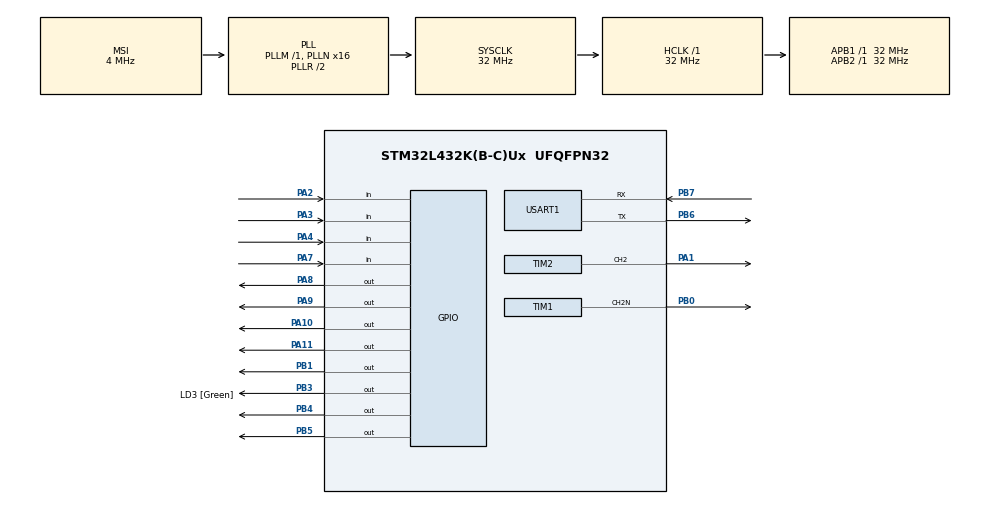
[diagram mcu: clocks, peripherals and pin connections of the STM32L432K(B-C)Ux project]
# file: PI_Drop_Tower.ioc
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Mcu.Family=STM32L4
Mcu.Name=STM32L432K(B-C)Ux
Mcu.Package=UFQFPN32
NVIC.PriorityGroup=NVIC_PRIORITYGROUP_4
NVIC.TIM6_DAC_IRQn=true\:0\:0\:false\:false\:true\:true\:true\:true
NVIC.USART1_IRQn=true\:0\:0\:false\:false\:true\:true\:true\:true
PA0.GPIO_Label=MCO [High speed clock in]
PA0.Mode=HSE-External-Clock-Source-for-LittleOrca
PA0.Signal=RCC_CK_IN
PA1.Signal=S_TIM2_CH2
PA10.Signal=GPIO_Output
PA11.Signal=GPIO_Output
PA13\ (JTMS-SWDIO).GPIO_Label=SWDIO
PA13\ (JTMS-SWDIO).Mode=Serial_Wire
PA13\ (JTMS-SWDIO).Signal=SYS_JTMS-SWDIO
PA14\ (JTCK-SWCLK).GPIO_Label=SWCLK
PA14\ (JTCK-SWCLK).Mode=Serial_Wire
PA14\ (JTCK-SWCLK).Signal=SYS_JTCK-SWCLK
PA15\ (JTDI).GPIO_Label=VCP_RX
PA15\ (JTDI).Signal=USART2_RX
PA2.Signal=GPIO_Input
PA3.GPIO_PuPd=GPIO_PULLDOWN
PA3.Signal=GPIO_Input
PA4.Signal=GPIO_Input
PA7.Signal=GPIO_Input
PA8.Signal=GPIO_Output
PA9.Signal=GPIO_Output
PB0.Mode=PWM Generation2 CH2N
PB0.Signal=TIM1_CH2N
PB1.GPIO_PuPd=GPIO_PULLDOWN
PB1.Signal=GPIO_Output
PB3\ (JTDO-TRACESWO).GPIO_Label=LD3 [Green]
PB3\ (JTDO-TRACESWO).Signal=GPIO_Output
PB4\ (NJTRST).GPIO_PuPd=GPIO_PULLUP
PB4\ (NJTRST).Signal=GPIO_Output
PB5.Signal=GPIO_Output
PB6.Mode=Asynchronous
PB6.Signal=USART1_TX
PB7.Mode=Asynchronous
PB7.Signal=USART1_RX
PC14-OSC32_IN\ (PC14).Mode=LSE-External-Oscillator
PC14-OSC32_IN\ (PC14).Signal=RCC_OSC32_IN
PC15-OSC32_OUT\ (PC15).Mode=LSE-External-Oscillator
PC15-OSC32_OUT\ (PC15).Signal=RCC_OSC32_OUT
ProjectManager.HeapSize=0x200
ProjectManager.StackSize=0x400
ProjectManager.TargetToolchain=STM32CubeIDE
RCC.AHBFreq_Value=32000000
RCC.APB1Freq_Value=32000000
RCC.APB1TimFreq_Value=32000000
RCC.APB2Freq_Value=32000000
RCC.APB2TimFreq_Value=32000000
RCC.CortexFreq_Value=32000000
RCC.HCLKFreq_Value=32000000
RCC.HSE_VALUE=8000000
RCC.HSI16_VALUE=16000000
RCC.HSI48_VALUE=48000000
RCC.HSI_VALUE=16000000
RCC.MSI_VALUE=4000000
RCC.PLLMUL=RCC_PLLMUL_4
RCC.PLLN=16
RCC.SYSCLKFreq_VALUE=32000000
RCC.SYSCLKSource=RCC_SYSCLKSOURCE_PLLCLK
RCC.VCOOutputFreq_Value=64000000
SH.S_TIM2_CH2.0=TIM2_CH2,PWM Generation2 CH2
TIM1.Channel-PWM\ Generation2\ CH2N=TIM_CHANNEL_2
TIM1.OCNPolarity_2=TIM_OCNPOLARITY_HIGH
TIM1.Period=100-1
TIM1.Prescaler=16-1
TIM2.Channel-PWM\ Generation2\ CH2=TIM_CHANNEL_2
TIM2.OCPolarity_2=TIM_OCPOLARITY_HIGH
TIM2.Period=100-1
TIM2.Prescaler=16-1
TIM6.AutoReloadPreload=TIM_AUTORELOAD_PRELOAD_DISABLE
TIM6.Period=1000
TIM6.Prescaler=32-1
USART1.Parity=PARITY_EVEN
USART1.VirtualMode-Asynchronous=VM_ASYNC
USART1.WordLength=WORDLENGTH_9B
VP_TIM1_VS_ClockSourceINT.Mode=Internal
VP_TIM2_VS_ClockSourceINT.Mode=Internal
VP_TIM6_VS_ClockSourceINT.Mode=Enable_Timer
board=NUCLEO-L432KC

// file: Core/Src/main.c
/* USER CODE BEGIN Header */
/**
  ******************************************************************************
  * @file           : main.c
  * @brief          : Main program body
  ******************************************************************************
  * @attention
  *
  * Copyright (c) 2023 STMicroelectronics.
  * All rights reserved.
  *
  * This software is licensed under terms that can be found in the LICENSE file
  * in the root directory of this software component.
  * If no LICENSE file comes with this software, it is provided AS-IS.
  *
  ******************************************************************************
  */
/* USER CODE END Header */
#include "main.h"

/* USER CODE BEGIN Includes */

#include "fsm.h"
#include "read_signals.h"
#include "addons.h"

/* USER CODE END Includes */

/* USER CODE BEGIN PD */

//#define MAIN_TICK_STOP

/* USER CODE END PD */

TIM_HandleTypeDef htim1;
TIM_HandleTypeDef htim2;
TIM_HandleTypeDef htim6;

UART_HandleTypeDef huart1;

/* USER CODE BEGIN PV */

uint8_t UART1_rxBuffer[SIZE_DATA] = {0};
uint8_t clamp_open_string[SIZE_DATA] = {"CLAOP\0"};
uint8_t clamp_close_string[SIZE_DATA] = {"CLACL\0"};
uint8_t EM_string[SIZE_DATA] = {"EMXXX\0"};

eSystemState state = Clamp_Opening_State;

bool req_clamp_open,req_clamp_close = false;
bool req_EM_open = false;
uint8_t flag_action = ACTION_NOK;
signal_struct signal;

/* USER CODE END PV */

void SystemClock_Config(void);
static void MX_GPIO_Init(void);
static void MX_TIM6_Init(void);
static void MX_USART1_UART_Init(void);
static void MX_TIM1_Init(void);
static void MX_TIM2_Init(void);
/* USER CODE BEGIN PFP */

void main_tick();
void status_led();

/* USER CODE END PFP */

int main(void)
{

  /* MCU Configuration--------------------------------------------------------*/

  /* Reset of all peripherals, Initializes the Flash interface and the Systick. */
  HAL_Init();

  /* Configure the system clock */
  SystemClock_Config();

  /* Initialize all configured peripherals */
  MX_GPIO_Init();
  MX_TIM6_Init();
  MX_USART1_UART_Init();
  MX_TIM1_Init();
  MX_TIM2_Init();
  /* USER CODE BEGIN 2 */

  //start timer in interrupt mode
#ifndef MAIN_TICK_STOP
  HAL_TIM_Base_Start_IT(&htim6);
#endif
  //set PWM for motor
  //CCR value is from 0 to 1000 for 0% - 100% duty
  TIM1->CCR2 = 90;
  TIM2->CCR2 = 90;

  //enable uart IRQ
  //HAL_NVIC_EnableIRQ(USART1_IRQn);
  HAL_UART_Receive_IT(&huart1, UART1_rxBuffer, SIZE_DATA);

  //set EM to off!
	HAL_GPIO_WritePin(GPIOB, GPIO_PIN_1, 0);
	HAL_GPIO_WritePin(GPIOA, GPIO_PIN_3, 0);
	HAL_GPIO_WritePin(GPIOB, GPIO_PIN_4, 1);

  /* USER CODE END 2 */

  /* Infinite loop */
  /* USER CODE BEGIN WHILE */
	while (1)
  {
	  //MY CODE

    /* USER CODE END WHILE */

  }
}

void SystemClock_Config(void)
{
  RCC_OscInitTypeDef RCC_OscInitStruct = {0};
  RCC_ClkInitTypeDef RCC_ClkInitStruct = {0};

  /** Configure the main internal regulator output voltage
  */
  if (HAL_PWREx_ControlVoltageScaling(PWR_REGULATOR_VOLTAGE_SCALE1) != HAL_OK)
  {
    Error_Handler();
  }

  /** Configure LSE Drive Capability
  */
  HAL_PWR_EnableBkUpAccess();
  __HAL_RCC_LSEDRIVE_CONFIG(RCC_LSEDRIVE_LOW);

  /** Initializes the RCC Oscillators according to the specified parameters
  * in the RCC_OscInitTypeDef structure.
  */
  RCC_OscInitStruct.OscillatorType = RCC_OSCILLATORTYPE_LSE|RCC_OSCILLATORTYPE_MSI;
  RCC_OscInitStruct.LSEState = RCC_LSE_ON;
  RCC_OscInitStruct.MSIState = RCC_MSI_ON;
  RCC_OscInitStruct.MSICalibrationValue = 0;
  RCC_OscInitStruct.MSIClockRange = RCC_MSIRANGE_6;
  RCC_OscInitStruct.PLL.PLLState = RCC_PLL_ON;
  RCC_OscInitStruct.PLL.PLLSource = RCC_PLLSOURCE_MSI;
  RCC_OscInitStruct.PLL.PLLM = 1;
  RCC_OscInitStruct.PLL.PLLN = 16;
  RCC_OscInitStruct.PLL.PLLP = RCC_PLLP_DIV7;
  RCC_OscInitStruct.PLL.PLLQ = RCC_PLLQ_DIV2;
  RCC_OscInitStruct.PLL.PLLR = RCC_PLLR_DIV2;
  if (HAL_RCC_OscConfig(&RCC_OscInitStruct) != HAL_OK)
  {
    Error_Handler();
  }

  /** Initializes the CPU, AHB and APB buses clocks
  */
  RCC_ClkInitStruct.ClockType = RCC_CLOCKTYPE_HCLK|RCC_CLOCKTYPE_SYSCLK
                              |RCC_CLOCKTYPE_PCLK1|RCC_CLOCKTYPE_PCLK2;
  RCC_ClkInitStruct.SYSCLKSource = RCC_SYSCLKSOURCE_PLLCLK;
  RCC_ClkInitStruct.AHBCLKDivider = RCC_SYSCLK_DIV1;
  RCC_ClkInitStruct.APB1CLKDivider = RCC_HCLK_DIV1;
  RCC_ClkInitStruct.APB2CLKDivider = RCC_HCLK_DIV1;

  if (HAL_RCC_ClockConfig(&RCC_ClkInitStruct, FLASH_LATENCY_1) != HAL_OK)
  {
    Error_Handler();
  }

  /** Enable MSI Auto calibration
  */
  HAL_RCCEx_EnableMSIPLLMode();
}

static void MX_TIM1_Init(void)
{

  TIM_ClockConfigTypeDef sClockSourceConfig = {0};
  TIM_MasterConfigTypeDef sMasterConfig = {0};
  TIM_OC_InitTypeDef sConfigOC = {0};
  TIM_BreakDeadTimeConfigTypeDef sBreakDeadTimeConfig = {0};

  htim1.Instance = TIM1;
  htim1.Init.Prescaler = 16-1;
  htim1.Init.CounterMode = TIM_COUNTERMODE_UP;
  htim1.Init.Period = 100-1;
  htim1.Init.ClockDivision = TIM_CLOCKDIVISION_DIV1;
  htim1.Init.RepetitionCounter = 0;
  htim1.Init.AutoReloadPreload = TIM_AUTORELOAD_PRELOAD_DISABLE;
  if (HAL_TIM_Base_Init(&htim1) != HAL_OK)
  {
    Error_Handler();
  }
  sClockSourceConfig.ClockSource = TIM_CLOCKSOURCE_INTERNAL;
  if (HAL_TIM_ConfigClockSource(&htim1, &sClockSourceConfig) != HAL_OK)
  {
    Error_Handler();
  }
  if (HAL_TIM_PWM_Init(&htim1) != HAL_OK)
  {
    Error_Handler();
  }
  sMasterConfig.MasterOutputTrigger = TIM_TRGO_RESET;
  sMasterConfig.MasterOutputTrigger2 = TIM_TRGO2_RESET;
  sMasterConfig.MasterSlaveMode = TIM_MASTERSLAVEMODE_DISABLE;
  if (HAL_TIMEx_MasterConfigSynchronization(&htim1, &sMasterConfig) != HAL_OK)
  {
    Error_Handler();
  }
  sConfigOC.OCMode = TIM_OCMODE_PWM1;
  sConfigOC.Pulse = 0;
  sConfigOC.OCPolarity = TIM_OCPOLARITY_HIGH;
  sConfigOC.OCNPolarity = TIM_OCNPOLARITY_HIGH;
  sConfigOC.OCFastMode = TIM_OCFAST_DISABLE;
  sConfigOC.OCIdleState = TIM_OCIDLESTATE_RESET;
  sConfigOC.OCNIdleState = TIM_OCNIDLESTATE_RESET;
  if (HAL_TIM_PWM_ConfigChannel(&htim1, &sConfigOC, TIM_CHANNEL_2) != HAL_OK)
  {
    Error_Handler();
  }
  sBreakDeadTimeConfig.OffStateRunMode = TIM_OSSR_DISABLE;
  sBreakDeadTimeConfig.OffStateIDLEMode = TIM_OSSI_DISABLE;
  sBreakDeadTimeConfig.LockLevel = TIM_LOCKLEVEL_OFF;
  sBreakDeadTimeConfig.DeadTime = 0;
  sBreakDeadTimeConfig.BreakState = TIM_BREAK_DISABLE;
  sBreakDeadTimeConfig.BreakPolarity = TIM_BREAKPOLARITY_HIGH;
  sBreakDeadTimeConfig.BreakFilter = 0;
  sBreakDeadTimeConfig.Break2State = TIM_BREAK2_DISABLE;
  sBreakDeadTimeConfig.Break2Polarity = TIM_BREAK2POLARITY_HIGH;
  sBreakDeadTimeConfig.Break2Filter = 0;
  sBreakDeadTimeConfig.AutomaticOutput = TIM_AUTOMATICOUTPUT_DISABLE;
  if (HAL_TIMEx_ConfigBreakDeadTime(&htim1, &sBreakDeadTimeConfig) != HAL_OK)
  {
    Error_Handler();
  }
  HAL_TIM_MspPostInit(&htim1);

}

static void MX_TIM2_Init(void)
{

  TIM_ClockConfigTypeDef sClockSourceConfig = {0};
  TIM_MasterConfigTypeDef sMasterConfig = {0};
  TIM_OC_InitTypeDef sConfigOC = {0};

  htim2.Instance = TIM2;
  htim2.Init.Prescaler = 16-1;
  htim2.Init.CounterMode = TIM_COUNTERMODE_UP;
  htim2.Init.Period = 100-1;
  htim2.Init.ClockDivision = TIM_CLOCKDIVISION_DIV1;
  htim2.Init.AutoReloadPreload = TIM_AUTORELOAD_PRELOAD_DISABLE;
  if (HAL_TIM_Base_Init(&htim2) != HAL_OK)
  {
    Error_Handler();
  }
  sClockSourceConfig.ClockSource = TIM_CLOCKSOURCE_INTERNAL;
  if (HAL_TIM_ConfigClockSource(&htim2, &sClockSourceConfig) != HAL_OK)
  {
    Error_Handler();
  }
  if (HAL_TIM_PWM_Init(&htim2) != HAL_OK)
  {
    Error_Handler();
  }
  sMasterConfig.MasterOutputTrigger = TIM_TRGO_RESET;
  sMasterConfig.MasterSlaveMode = TIM_MASTERSLAVEMODE_DISABLE;
  if (HAL_TIMEx_MasterConfigSynchronization(&htim2, &sMasterConfig) != HAL_OK)
  {
    Error_Handler();
  }
  sConfigOC.OCMode = TIM_OCMODE_PWM1;
  sConfigOC.Pulse = 0;
  sConfigOC.OCPolarity = TIM_OCPOLARITY_HIGH;
  sConfigOC.OCFastMode = TIM_OCFAST_DISABLE;
  if (HAL_TIM_PWM_ConfigChannel(&htim2, &sConfigOC, TIM_CHANNEL_2) != HAL_OK)
  {
    Error_Handler();
  }
  HAL_TIM_MspPostInit(&htim2);

}

static void MX_TIM6_Init(void)
{

  TIM_MasterConfigTypeDef sMasterConfig = {0};

  htim6.Instance = TIM6;
  htim6.Init.Prescaler = 32-1;
  htim6.Init.CounterMode = TIM_COUNTERMODE_UP;
  htim6.Init.Period = 1000;
  htim6.Init.AutoReloadPreload = TIM_AUTORELOAD_PRELOAD_DISABLE;
  if (HAL_TIM_Base_Init(&htim6) != HAL_OK)
  {
    Error_Handler();
  }
  sMasterConfig.MasterOutputTrigger = TIM_TRGO_RESET;
  sMasterConfig.MasterSlaveMode = TIM_MASTERSLAVEMODE_DISABLE;
  if (HAL_TIMEx_MasterConfigSynchronization(&htim6, &sMasterConfig) != HAL_OK)
  {
    Error_Handler();
  }

}

static void MX_USART1_UART_Init(void)
{

  huart1.Instance = USART1;
  huart1.Init.BaudRate = 115200;
  huart1.Init.WordLength = UART_WORDLENGTH_9B;
  huart1.Init.StopBits = UART_STOPBITS_1;
  huart1.Init.Parity = UART_PARITY_EVEN;
  huart1.Init.Mode = UART_MODE_TX_RX;
  huart1.Init.HwFlowCtl = UART_HWCONTROL_NONE;
  huart1.Init.OverSampling = UART_OVERSAMPLING_16;
  huart1.Init.OneBitSampling = UART_ONE_BIT_SAMPLE_DISABLE;
  huart1.AdvancedInit.AdvFeatureInit = UART_ADVFEATURE_NO_INIT;
  if (HAL_UART_Init(&huart1) != HAL_OK)
  {
    Error_Handler();
  }

}

static void MX_GPIO_Init(void)
{
  GPIO_InitTypeDef GPIO_InitStruct = {0};

  /* GPIO Ports Clock Enable */
  __HAL_RCC_GPIOC_CLK_ENABLE();
  __HAL_RCC_GPIOA_CLK_ENABLE();
  __HAL_RCC_GPIOB_CLK_ENABLE();

  /*Configure GPIO pin Output Level */
  HAL_GPIO_WritePin(GPIOB, GPIO_PIN_1|LD3_Pin|GPIO_PIN_4|GPIO_PIN_5, GPIO_PIN_RESET);

  /*Configure GPIO pin Output Level */
  HAL_GPIO_WritePin(GPIOA, GPIO_PIN_8|GPIO_PIN_9|GPIO_PIN_10|GPIO_PIN_11, GPIO_PIN_RESET);

  /*Configure GPIO pins : PA2 PA4 PA7 */
  GPIO_InitStruct.Pin = GPIO_PIN_2|GPIO_PIN_4|GPIO_PIN_7;
  GPIO_InitStruct.Mode = GPIO_MODE_INPUT;
  GPIO_InitStruct.Pull = GPIO_NOPULL;
  HAL_GPIO_Init(GPIOA, &GPIO_InitStruct);

  /*Configure GPIO pin : PA3 */
  GPIO_InitStruct.Pin = GPIO_PIN_3;
  GPIO_InitStruct.Mode = GPIO_MODE_INPUT;
  GPIO_InitStruct.Pull = GPIO_PULLDOWN;
  HAL_GPIO_Init(GPIOA, &GPIO_InitStruct);

  /*Configure GPIO pin : PB1 */
  GPIO_InitStruct.Pin = GPIO_PIN_1;
  GPIO_InitStruct.Mode = GPIO_MODE_OUTPUT_PP;
  GPIO_InitStruct.Pull = GPIO_PULLDOWN;
  GPIO_InitStruct.Speed = GPIO_SPEED_FREQ_LOW;
  HAL_GPIO_Init(GPIOB, &GPIO_InitStruct);

  /*Configure GPIO pins : PA8 PA9 PA10 PA11 */
  GPIO_InitStruct.Pin = GPIO_PIN_8|GPIO_PIN_9|GPIO_PIN_10|GPIO_PIN_11;
  GPIO_InitStruct.Mode = GPIO_MODE_OUTPUT_PP;
  GPIO_InitStruct.Pull = GPIO_NOPULL;
  GPIO_InitStruct.Speed = GPIO_SPEED_FREQ_LOW;
  HAL_GPIO_Init(GPIOA, &GPIO_InitStruct);

  /*Configure GPIO pin : VCP_RX_Pin */
  GPIO_InitStruct.Pin = VCP_RX_Pin;
  GPIO_InitStruct.Mode = GPIO_MODE_AF_PP;
  GPIO_InitStruct.Pull = GPIO_NOPULL;
  GPIO_InitStruct.Speed = GPIO_SPEED_FREQ_VERY_HIGH;
  GPIO_InitStruct.Alternate = GPIO_AF3_USART2;
  HAL_GPIO_Init(VCP_RX_GPIO_Port, &GPIO_InitStruct);

  /*Configure GPIO pins : LD3_Pin PB5 */
  GPIO_InitStruct.Pin = LD3_Pin|GPIO_PIN_5;
  GPIO_InitStruct.Mode = GPIO_MODE_OUTPUT_PP;
  GPIO_InitStruct.Pull = GPIO_NOPULL;
  GPIO_InitStruct.Speed = GPIO_SPEED_FREQ_LOW;
  HAL_GPIO_Init(GPIOB, &GPIO_InitStruct);

  /*Configure GPIO pin : PB4 */
  GPIO_InitStruct.Pin = GPIO_PIN_4;
  GPIO_InitStruct.Mode = GPIO_MODE_OUTPUT_PP;
  GPIO_InitStruct.Pull = GPIO_PULLUP;
  GPIO_InitStruct.Speed = GPIO_SPEED_FREQ_LOW;
  HAL_GPIO_Init(GPIOB, &GPIO_InitStruct);

}

/* USER CODE BEGIN 4 */

//Timer interrupt callback 1ms
void HAL_TIM_PeriodElapsedCallback(TIM_HandleTypeDef *htim)
{
	if(htim == &htim6)
	{
		main_tick();
	}
}

//void HAL_UART_RxCpltCallback(UART_HandleTypeDef *huart)
void HAL_UART_RxCpltCallback(UART_HandleTypeDef *huart){

	if(huart == &huart1)
		{
			HAL_UART_Receive_IT(&huart1, UART1_rxBuffer, SIZE_DATA);

			if(strcmp(UART1_rxBuffer,clamp_open_string) == 0){
				req_clamp_open = true;
			}
			else{
				req_clamp_open = false;
			}
			if(strcmp(UART1_rxBuffer,clamp_close_string) == 0){
				req_clamp_close = true;
			}
			else{
				req_clamp_close = false;
			}
			if(strcmp(UART1_rxBuffer,EM_string) == 0){
							req_EM_open = true;
						}
						else{
							req_EM_open = false;
						}
		}

	memset(UART1_rxBuffer, 0, sizeof(UART1_rxBuffer)); //is it usesfull?
}

void main_tick()
{

	status_led();

    signal_read(&signal);
	//signal = signal_read(); //update switch values
	state = fsm_state_change(state, &req_clamp_open,&req_clamp_close, &req_EM_open,flag_action); //update state
	flag_action = fsm_state_action(state,signal,&htim2,&htim1); //update actions
}

void status_led()
{
	static uint16_t counter =0;
		counter++;
		if(counter == 1000){  //count up to 1000ms to 1s toggle
			counter = 0;
			//HAL_GPIO_TogglePin(GPIOA, GPIO_PIN_3);

			//Test uart TX
			//HAL_UART_Transmit(&huart1,"CIAO",4, 1000);
		}
}

/* USER CODE END 4 */

void Error_Handler(void)
{
  __disable_irq();
  while (1)
  {
  }
}
